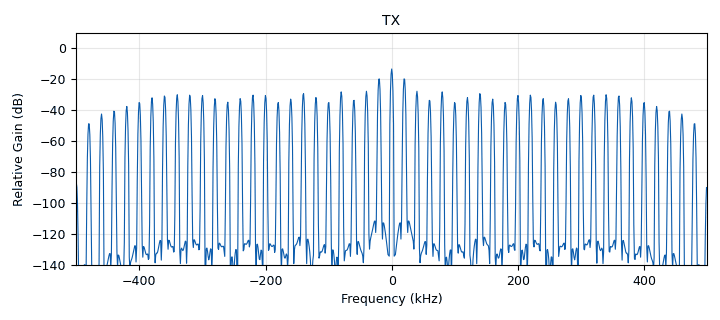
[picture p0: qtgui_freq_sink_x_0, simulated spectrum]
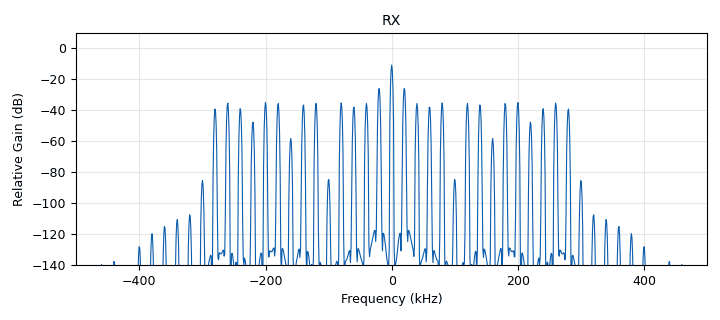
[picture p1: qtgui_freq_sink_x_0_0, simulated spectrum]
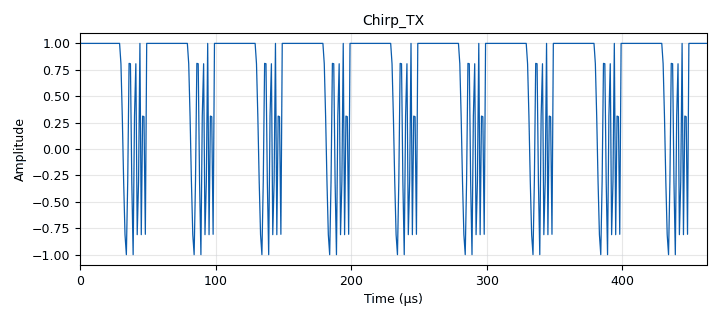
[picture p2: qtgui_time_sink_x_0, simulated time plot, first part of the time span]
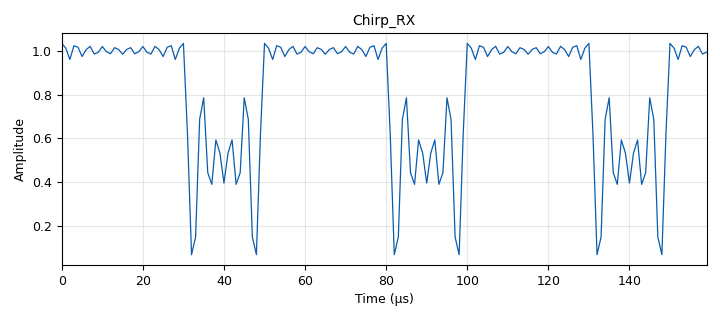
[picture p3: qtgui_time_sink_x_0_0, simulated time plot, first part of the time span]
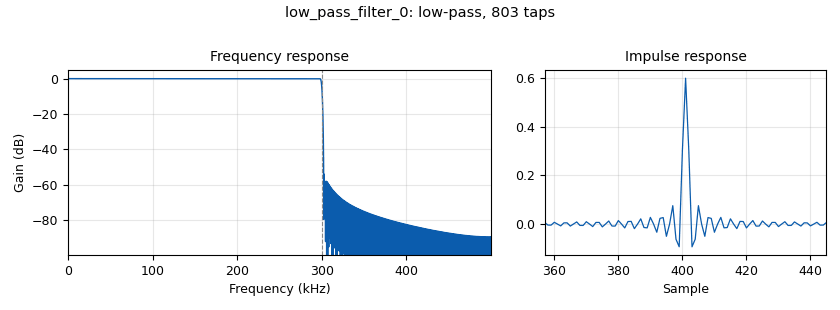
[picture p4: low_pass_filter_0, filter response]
<?xml version='1.0' encoding='utf-8'?>
<?grc format='1' created='3.7.13'?>
<flow_graph>
<block>
<key>options</key>
<param><key>id</key><value>top_block</value></param>
<param><key>generate_options</key><value>qt_gui</value></param>
</block>
<block>
<key>variable</key>
<param><key>id</key><value>samp_rate</value></param>
<param><key>value</key><value>1e6</value></param>
</block>
<block>
<key>analog_noise_source_x</key>
<param><key>id</key><value>analog_noise_source_x_0</value></param>
<param><key>amp</key><value>0</value></param>
<param><key>noise_type</key><value>analog.GR_GAUSSIAN</value></param>
<param><key>type</key><value>float</value></param>
<param><key>seed</key><value>0</value></param>
</block>
<block>
<key>blocks_add_xx</key>
<param><key>id</key><value>blocks_add_xx_0</value></param>
<param><key>type</key><value>float</value></param>
</block>
<block>
<key>blocks_delay</key>
<param><key>id</key><value>blocks_delay_0</value></param>
<param><key>delay</key><value>0</value></param>
<param><key>type</key><value>float</value></param>
</block>
<block>
<key>blocks_multiply_xx</key>
<param><key>id</key><value>blocks_multiply_xx_0</value></param>
<param><key>type</key><value>float</value></param>
</block>
<block>
<key>blocks_multiply_xx</key>
<param><key>id</key><value>blocks_multiply_xx_1</value></param>
<param><key>type</key><value>float</value></param>
</block>
<block>
<key>blocks_repeat</key>
<param><key>id</key><value>blocks_repeat_0</value></param>
<param><key>interp</key><value>5</value></param>
<param><key>type</key><value>float</value></param>
</block>
<block>
<key>blocks_repeat</key>
<param><key>id</key><value>blocks_repeat_0_0</value></param>
<param><key>interp</key><value>5</value></param>
<param><key>type</key><value>float</value></param>
</block>
<block>
<key>blocks_throttle</key>
<param><key>id</key><value>blocks_throttle_0</value></param>
<param><key>samples_per_second</key><value>samp_rate</value></param>
<param><key>type</key><value>float</value></param>
</block>
<block>
<key>blocks_throttle</key>
<param><key>id</key><value>blocks_throttle_0_0</value></param>
<param><key>samples_per_second</key><value>samp_rate</value></param>
<param><key>type</key><value>float</value></param>
</block>
<block>
<key>blocks_vco_f</key>
<param><key>id</key><value>blocks_vco_f_0</value></param>
<param><key>amplitude</key><value>1</value></param>
<param><key>samp_rate</key><value>1000000</value></param>
<param><key>sensitivity</key><value>2*samp_rate*np.pi</value></param>
</block>
<block>
<key>blocks_vector_source_x</key>
<param><key>id</key><value>blocks_vector_source_x_0</value></param>
<param><key>type</key><value>float</value></param>
<param><key>repeat</key><value>True</value></param>
<param><key>vector</key><value>np.arange(0, 1, 0.1)</value></param>
</block>
<block>
<key>blocks_vector_source_x</key>
<param><key>id</key><value>blocks_vector_source_x_0_0</value></param>
<param><key>type</key><value>float</value></param>
<param><key>repeat</key><value>True</value></param>
<param><key>vector</key><value>(1,1,1,1,1,0,0,0,0,0)</value></param>
</block>
<block>
<key>import</key>
<param><key>id</key><value>import_0</value></param>
<param><key>import</key><value>import numpy as np</value></param>
</block>
<block>
<key>low_pass_filter</key>
<param><key>id</key><value>low_pass_filter_0</value></param>
<param><key>cutoff_freq</key><value>300000</value></param>
<param><key>decim</key><value>1</value></param>
<param><key>type</key><value>fir_filter_fff</value></param>
<param><key>gain</key><value>1</value></param>
<param><key>samp_rate</key><value>samp_rate</value></param>
<param><key>width</key><value>3000</value></param>
<param><key>win</key><value>firdes.WIN_HAMMING</value></param>
</block>
<block>
<key>qtgui_freq_sink_x</key>
<param><key>id</key><value>qtgui_freq_sink_x_0</value></param>
<param><key>bw</key><value>samp_rate</value></param>
<param><key>fc</key><value>0</value></param>
<param><key>fftsize</key><value>1024</value></param>
<param><key>name</key><value>"TX"</value></param>
<param><key>showports</key><value>True</value></param>
<param><key>type</key><value>float</value></param>
<param><key>wintype</key><value>firdes.WIN_BLACKMAN_hARRIS</value></param>
</block>
<block>
<key>qtgui_freq_sink_x</key>
<param><key>id</key><value>qtgui_freq_sink_x_0_0</value></param>
<param><key>bw</key><value>samp_rate</value></param>
<param><key>fc</key><value>0</value></param>
<param><key>fftsize</key><value>1024</value></param>
<param><key>color1</key><value>"red"</value></param>
<param><key>name</key><value>"RX"</value></param>
<param><key>showports</key><value>True</value></param>
<param><key>type</key><value>float</value></param>
<param><key>wintype</key><value>firdes.WIN_BLACKMAN_hARRIS</value></param>
</block>
<block>
<key>qtgui_time_sink_x</key>
<param><key>id</key><value>qtgui_time_sink_x_0</value></param>
<param><key>autoscale</key><value>True</value></param>
<param><key>color1</key><value>"blue"</value></param>
<param><key>label1</key><value></value></param>
<param><key>name</key><value>"Chirp_TX"</value></param>
<param><key>size</key><value>1024</value></param>
<param><key>srate</key><value>samp_rate</value></param>
<param><key>type</key><value>float</value></param>
</block>
<block>
<key>qtgui_time_sink_x</key>
<param><key>id</key><value>qtgui_time_sink_x_0_0</value></param>
<param><key>autoscale</key><value>True</value></param>
<param><key>color1</key><value>"red"</value></param>
<param><key>label1</key><value></value></param>
<param><key>name</key><value>"Chirp_RX"</value></param>
<param><key>size</key><value>1024</value></param>
<param><key>srate</key><value>samp_rate</value></param>
<param><key>type</key><value>float</value></param>
</block>
<block>
<key>virtual_sink</key>
<param><key>id</key><value>virtual_sink_0</value></param>
<param><key>stream_id</key><value>chirp_TX</value></param>
</block>
<connection><source_block_id>analog_noise_source_x_0</source_block_id><sink_block_id>blocks_add_xx_0</sink_block_id><source_key>0</source_key><sink_key>1</sink_key></connection>
<connection><source_block_id>blocks_add_xx_0</source_block_id><sink_block_id>blocks_multiply_xx_1</sink_block_id><source_key>0</source_key><sink_key>1</sink_key></connection>
<connection><source_block_id>blocks_delay_0</source_block_id><sink_block_id>blocks_add_xx_0</sink_block_id><source_key>0</source_key><sink_key>0</sink_key></connection>
<connection><source_block_id>blocks_multiply_xx_0</source_block_id><sink_block_id>blocks_vco_f_0</sink_block_id><source_key>0</source_key><sink_key>0</sink_key></connection>
<connection><source_block_id>blocks_multiply_xx_1</source_block_id><sink_block_id>low_pass_filter_0</sink_block_id><source_key>0</source_key><sink_key>0</sink_key></connection>
<connection><source_block_id>blocks_repeat_0</source_block_id><sink_block_id>blocks_multiply_xx_0</sink_block_id><source_key>0</source_key><sink_key>0</sink_key></connection>
<connection><source_block_id>blocks_repeat_0_0</source_block_id><sink_block_id>blocks_multiply_xx_0</sink_block_id><source_key>0</source_key><sink_key>1</sink_key></connection>
<connection><source_block_id>blocks_throttle_0</source_block_id><sink_block_id>blocks_repeat_0</sink_block_id><source_key>0</source_key><sink_key>0</sink_key></connection>
<connection><source_block_id>blocks_throttle_0_0</source_block_id><sink_block_id>blocks_repeat_0_0</sink_block_id><source_key>0</source_key><sink_key>0</sink_key></connection>
<connection><source_block_id>blocks_vco_f_0</source_block_id><sink_block_id>blocks_delay_0</sink_block_id><source_key>0</source_key><sink_key>0</sink_key></connection>
<connection><source_block_id>blocks_vco_f_0</source_block_id><sink_block_id>blocks_multiply_xx_1</sink_block_id><source_key>0</source_key><sink_key>0</sink_key></connection>
<connection><source_block_id>blocks_vco_f_0</source_block_id><sink_block_id>qtgui_freq_sink_x_0</sink_block_id><source_key>0</source_key><sink_key>0</sink_key></connection>
<connection><source_block_id>blocks_vco_f_0</source_block_id><sink_block_id>qtgui_time_sink_x_0</sink_block_id><source_key>0</source_key><sink_key>0</sink_key></connection>
<connection><source_block_id>blocks_vco_f_0</source_block_id><sink_block_id>virtual_sink_0</sink_block_id><source_key>0</source_key><sink_key>0</sink_key></connection>
<connection><source_block_id>blocks_vector_source_x_0</source_block_id><sink_block_id>blocks_throttle_0</sink_block_id><source_key>0</source_key><sink_key>0</sink_key></connection>
<connection><source_block_id>blocks_vector_source_x_0_0</source_block_id><sink_block_id>blocks_throttle_0_0</sink_block_id><source_key>0</source_key><sink_key>0</sink_key></connection>
<connection><source_block_id>low_pass_filter_0</source_block_id><sink_block_id>qtgui_freq_sink_x_0_0</sink_block_id><source_key>0</source_key><sink_key>0</sink_key></connection>
<connection><source_block_id>low_pass_filter_0</source_block_id><sink_block_id>qtgui_time_sink_x_0_0</sink_block_id><source_key>0</source_key><sink_key>0</sink_key></connection>
</flow_graph>
